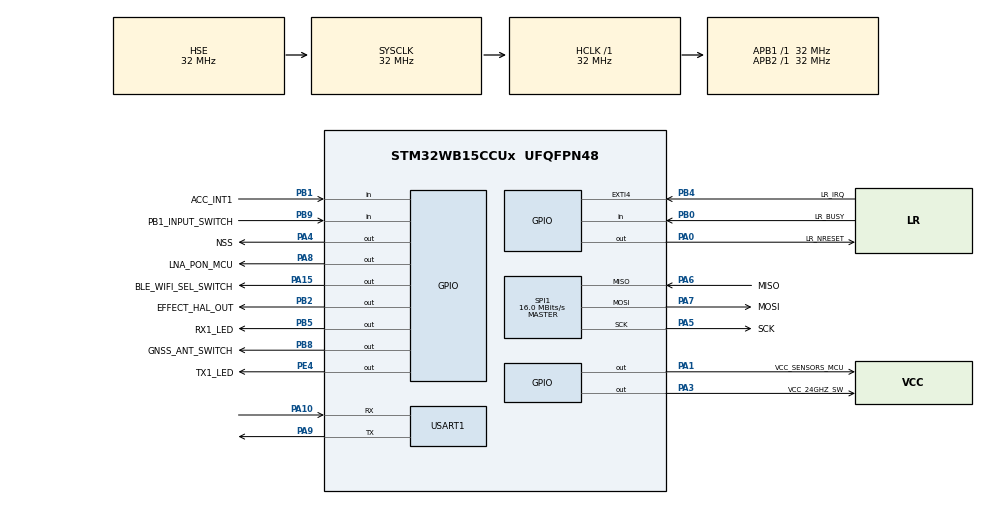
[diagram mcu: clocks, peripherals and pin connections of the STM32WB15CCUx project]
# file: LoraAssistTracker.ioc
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Dma.Request0=USART1_TX
Dma.USART1_TX.0.Direction=DMA_MEMORY_TO_PERIPH
Dma.USART1_TX.0.EventEnable=DISABLE
Dma.USART1_TX.0.Instance=DMA1_Channel4
Dma.USART1_TX.0.MemDataAlignment=DMA_MDATAALIGN_BYTE
Dma.USART1_TX.0.MemInc=DMA_MINC_ENABLE
Dma.USART1_TX.0.Mode=DMA_NORMAL
Dma.USART1_TX.0.PeriphDataAlignment=DMA_PDATAALIGN_BYTE
Dma.USART1_TX.0.PeriphInc=DMA_PINC_DISABLE
Dma.USART1_TX.0.Polarity=HAL_DMAMUX_REQ_GEN_RISING
Dma.USART1_TX.0.Priority=DMA_PRIORITY_LOW
Dma.USART1_TX.0.RequestNumber=1
Dma.USART1_TX.0.SignalID=NONE
Dma.USART1_TX.0.SyncEnable=DISABLE
Dma.USART1_TX.0.SyncPolarity=HAL_DMAMUX_SYNC_NO_EVENT
Dma.USART1_TX.0.SyncRequestNumber=1
Dma.USART1_TX.0.SyncSignalID=NONE
Mcu.Family=STM32WB
Mcu.Name=STM32WB15CCUx
Mcu.Package=UFQFPN48
NVIC.DMA1_Channel4_IRQn=true\:15\:0\:true\:false\:true\:false\:true
NVIC.HSEM_IRQn=true\:0\:0\:false\:false\:true\:false\:true
NVIC.IPCC_C1_RX_IRQn=true\:0\:0\:false\:false\:true\:true\:true
NVIC.IPCC_C1_TX_IRQn=true\:0\:0\:false\:false\:true\:true\:true
NVIC.PriorityGroup=NVIC_PRIORITYGROUP_4
NVIC.RTC_Alarm_IRQn=true\:0\:0\:false\:false\:true\:true\:true
NVIC.RTC_WKUP_IRQn=true\:0\:0\:false\:false\:true\:true\:true
NVIC.USART1_IRQn=true\:0\:0\:false\:false\:true\:true\:true
OSC_IN.Mode=HSE-External-Oscillator
OSC_IN.Signal=RCC_OSC_IN
OSC_OUT.Mode=HSE-External-Oscillator
OSC_OUT.Signal=RCC_OSC_OUT
PA0.GPIO_Label=LR_NRESET
PA0.Signal=GPIO_Output
PA1.GPIO_Label=VCC_SENSORS_MCU
PA1.Signal=GPIO_Output
PA10.GPIO_PuPd=GPIO_PULLUP
PA10.GPIO_Speed=GPIO_SPEED_FREQ_VERY_HIGH
PA10.Mode=Asynchronous
PA10.Signal=USART1_RX
PA13.Signal=SYS_JTMS-SWDIO
PA14.Signal=SYS_JTCK-SWCLK
PA15.GPIO_Label=BLE_WIFI_SEL_SWITCH
PA15.Signal=GPIO_Output
PA2.Mode=Clock-out-LSCO
PA2.Signal=RCC_LSCO
PA3.GPIO_Label=VCC_24GHZ_SW
PA3.Signal=GPIO_Output
PA4.GPIO_Label=NSS
PA4.Signal=GPIO_Output
PA5.GPIO_Label=SCK
PA5.Mode=Full_Duplex_Master
PA5.Signal=SPI1_SCK
PA6.GPIO_Label=MISO
PA6.Mode=Full_Duplex_Master
PA6.Signal=SPI1_MISO
PA7.GPIO_Label=MOSI
PA7.Mode=Full_Duplex_Master
PA7.Signal=SPI1_MOSI
PA8.GPIO_Label=LNA_PON_MCU
PA8.Signal=GPIO_Output
PA9.GPIO_PuPd=GPIO_PULLUP
PA9.GPIO_Speed=GPIO_SPEED_FREQ_VERY_HIGH
PA9.Mode=Asynchronous
PA9.Signal=USART1_TX
PB0.GPIO_Label=LR_BUSY
PB0.Signal=GPIO_Input
PB1.GPIO_Label=ACC_INT1
PB1.Signal=GPIO_Input
PB2.GPIO_Label=EFFECT_HAL_OUT
PB2.Signal=GPIO_Output
PB3.Signal=SYS_JTDO-SWO
PB4.GPIO_Label=LR_IRQ
PB4.Signal=GPXTI4
PB5.GPIO_Label=RX1_LED
PB5.Signal=GPIO_Output
PB8.GPIO_Label=GNSS_ANT_SWITCH
PB8.Signal=GPIO_Output
PB9.GPIO_Label=PB1_INPUT_SWITCH
PB9.Signal=GPIO_Input
PC14-OSC32_IN.Mode=LSE-External-Oscillator
PC14-OSC32_IN.Signal=RCC_OSC32_IN
PC15-OSC32_OUT.Mode=LSE-External-Oscillator
PC15-OSC32_OUT.Signal=RCC_OSC32_OUT
PE4.GPIO_Label=TX1_LED
PE4.Signal=GPIO_Output
ProjectManager.HeapSize=0x400
ProjectManager.StackSize=0x1000
ProjectManager.TargetToolchain=STM32CubeIDE
RCC.AHBFreq_Value=32000000
RCC.APB1Freq_Value=32000000
RCC.APB1TimFreq_Value=32000000
RCC.APB2Freq_Value=32000000
RCC.APB2TimFreq_Value=32000000
RCC.APB3Freq_Value=16000000
RCC.CK48CLockSelection=RCC_USBCLKSOURCE_PLL
RCC.CortexFreq_Value=32000000
RCC.HCLKFreq_Value=32000000
RCC.HSE_VALUE=32000000
RCC.HSI_VALUE=16000000
RCC.MSIClockRange=RCC_MSIRANGE_10
RCC.PLLSourceVirtual=RCC_PLLSOURCE_HSI
RCC.RNGCLockSelection=RCC_RNGCLKSOURCE_LSE
RCC.RTCClockSelection=RCC_RTCCLKSOURCE_LSE
RCC.SMPSCLockSelectionVirtual=RCC_SMPSCLKSOURCE_HSE
RCC.SMPSDivider=4
RCC.SYSCLKFreq_VALUE=32000000
RCC.SYSCLKSource=RCC_SYSCLKSOURCE_HSE
RCC.VCOOutputFreq_Value=128000000
RF1.Mode=RF1_Activate
RF1.Signal=RF_RF1
RTC.Alarm-Alarm\ A=RTC_ALARM_A
SPI1.CalculateBaudRate=16.0 MBits/s
SPI1.Direction=SPI_DIRECTION_2LINES
SPI1.Mode=SPI_MODE_MASTER
SPI1.VirtualType=VM_MASTER
STM32_WPAN.BLE_ADDR_TYPE=PUBLIC_ADDR
STM32_WPAN.BLE_CFG_SVC_MAX_NBR_CB=1
STM32_WPAN.BLE_DBG_P2P_STM_EN=1
STM32_WPAN.BT_SIG_HEART_RATE_SENSOR=Disabled
STM32_WPAN.CFG_ADV_BD_ADDRESS=0x7257acd87a6c
STM32_WPAN.CFG_BLE_ATT_VALUE_ARRAY_SIZE=1290
STM32_WPAN.CFG_BLE_NUM_GATT_ATTRIBUTES=30
STM32_WPAN.CFG_BLE_NUM_GATT_SERVICES=4
STM32_WPAN.CFG_DEBUGGER_SUPPORTED=1
STM32_WPAN.CFG_DEBUG_APP_TRACE=1
STM32_WPAN.CFG_DEBUG_BLE_TRACE=1
STM32_WPAN.CFG_DEBUG_TRACE_LIGHT=1
STM32_WPAN.CFG_DEBUG_TRACE_UART=hw_uart1
STM32_WPAN.CFG_HW_RESET_BY_FW=0
STM32_WPAN.CFG_HW_USART1_ENABLED=1
STM32_WPAN.CFG_LPM_STANDBY_SUPPORTED=0
STM32_WPAN.CFG_LPM_SUPPORTED=1
STM32_WPAN.CFG_LP_CONN_ADV_INTERVAL_MAX=2500
STM32_WPAN.CFG_USE_SMPS=0
STM32_WPAN.CUSTOM_P2P_SERVER=Enabled
STM32_WPAN.DBG_TRACE_MSG_QUEUE_SIZE=1024
STM32_WPAN.L2CAP_REQUEST_NEW_CONN_PARAM=1
STM32_WPAN.LOCAL_NAME=LORA_P2
STM32_WPAN.LOCAL_NAME_FORMATTED=,'L','O','R','A','_','P','2'
STM32_WPAN.MAX_DBG_TRACE_MSG_SIZE=512
STM32_WPAN.STATIC_RANDOM_ADDRESS=0x112233445566
USART1.VirtualMode-Asynchronous=VM_ASYNC
VP_HSEM_VS_HSEM.Mode=HSEM_Activate
VP_IPCC_VS_IPCC.Mode=IPCC_Activate
VP_RNG_VS_RNG.Mode=RNG_Activate
VP_RTC_VS_RTC_Activate.Mode=RTC_Enabled
VP_RTC_VS_RTC_Alarm_A_Intern.Mode=Alarm A
VP_RTC_VS_RTC_Calendar.Mode=RTC_Calendar
VP_RTC_VS_RTC_WakeUp_intern.Mode=WakeUp
VP_SEQUENCER_VS_SEQUENCER.Mode=SEQUENCER_Enabled
VP_STM32_WPAN_VS_BLE_HOST.Mode=STM32_WPAN_Enabled
VP_TINY_LPM_VS_TINY_LPM.Mode=TINY_LPM_Enabled
board=custom

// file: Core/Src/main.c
/* USER CODE BEGIN Header */
/**
  ******************************************************************************
  * @file           : main.c
  * @brief          : Main program body
  ******************************************************************************
  * @attention
  *
  * Copyright (c) 2021 STMicroelectronics.
  * All rights reserved.
  *
  * This software is licensed under terms that can be found in the LICENSE file
  * in the root directory of this software component.
  * If no LICENSE file comes with this software, it is provided AS-IS.
  *
  ******************************************************************************
  @verbatim
  ==============================================================================
                    ##### IMPORTANT NOTE #####
  ==============================================================================

  This application requests having the stm32wb1x_BLE_Stack_fw.bin binary
  flashed on the Wireless Coprocessor.
  If it is not the case, you need to use STM32CubeProgrammer to load the appropriate
  binary.

  All available binaries are located under following directory:
  /Projects/STM32_Copro_Wireless_Binaries

  Refer to UM2237 to learn how to use/install STM32CubeProgrammer.
  Refer to /Projects/STM32_Copro_Wireless_Binaries/ReleaseNote.html for the
  detailed procedure to change the Wireless Coprocessor binary.

  @endverbatim
  ******************************************************************************
  */
/* USER CODE END Header */
#include "main.h"

/* USER CODE BEGIN Includes */

//BLE_p2pServer\Core\Src\main.c

// BLE_p2pServer\STM32CubeIDE\Application\User\Core\MyApplication.h

//BLE_p2pServer\STM32_WPAN\App\p2p_server_app.c
#include "../../STM32CubeIDE/Application/User/Core/MyApplication.h"
/* USER CODE END Includes */

/* USER CODE BEGIN PTD */

uint32_t u32LoraWanSelector = 0;

/* USER CODE END PTD */

IPCC_HandleTypeDef hipcc;

RNG_HandleTypeDef hrng;

RTC_HandleTypeDef hrtc;

SPI_HandleTypeDef hspi1;

UART_HandleTypeDef huart1;
DMA_HandleTypeDef hdma_usart1_tx;

void SystemClock_Config(void);
void PeriphCommonClock_Config(void);
static void MX_RNG_Init(void);
static void MX_SPI1_Init(void);
/* USER CODE BEGIN PFP */

extern int lora_ping_pong( void );
extern int lora_wan( void );
extern void lorawan_process(void);
extern int lorawan_init(void);

extern void lorapingpong_process(void);
extern void lorapingpong_init(void);

/* USER CODE END PFP */

/* USER CODE BEGIN 0 */

void spdt_2g4_on( void )
{
	HAL_GPIO_WritePin(VCC_24GHZ_SW_GPIO_Port, VCC_24GHZ_SW_Pin, 1);
}

void spdt_2g4_off( void )
{
	HAL_GPIO_WritePin(VCC_24GHZ_SW_GPIO_Port, VCC_24GHZ_SW_Pin, 0);
}

void set_wifi_antenna( void )
{
    /* SWITCH_WIFI_BLE_Pin = 1 ==> Wi-Fi */
//    hal_gpio_set_value( SWITCH_WIFI_BLE, 1 );
	HAL_GPIO_WritePin(BLE_WIFI_SEL_SWITCH_GPIO_Port, BLE_WIFI_SEL_SWITCH_Pin, 1);

}

void set_ble_antenna( void )
{
    /* SWITCH_WIFI_BLE_Pin = 0 ==> BLE */
//    hal_gpio_set_value( SWITCH_WIFI_BLE, 0 );
    HAL_GPIO_WritePin(BLE_WIFI_SEL_SWITCH_GPIO_Port, BLE_WIFI_SEL_SWITCH_Pin, 0);
}

void lna_on( void )
{
	HAL_GPIO_WritePin(LNA_PON_MCU_GPIO_Port, LNA_PON_MCU_Pin, 1);
//	hal_gpio_set_value( LNA_PON, 1 );
}

void lna_off( void )
{
	HAL_GPIO_WritePin(LNA_PON_MCU_GPIO_Port, LNA_PON_MCU_Pin, 0);
//	hal_gpio_set_value( LNA_PON, 0 );
}

void set_gnss_patch_antenna( void )
{
    /* GPS_SWITCH = 1 ==> PATCH */
//    hal_gpio_set_value( GPS_SWITCH, 1 );
	HAL_GPIO_WritePin(GNSS_ANT_SWITCH_GPIO_Port, GNSS_ANT_SWITCH_Pin, 1);
}

void set_gnss_pcb_antenna( void )
{
    /* GPS_SWITCH = 0 ==> PCB */
//    hal_gpio_set_value( GPS_SWITCH, 0 );
	HAL_GPIO_WritePin(GNSS_ANT_SWITCH_GPIO_Port, GNSS_ANT_SWITCH_Pin, 0);
}

//void my_lr1110_get_version( char * hw, char * type, uint16_t * fw )
//{
//    uint8_t         cbuffer[2];
//    uint8_t         rbuffer[4] = { 0x00 };
//
//    cbuffer[0] = ( uint8_t )( 1 );
//    cbuffer[1] = ( uint8_t )( 1 );
//
//    my_lr1110_hal_read( cbuffer, 2, rbuffer, 4 );
//
//
//	* hw   = rbuffer[0];
//	* type = rbuffer[1];
//	* fw    = ( ( uint16_t ) rbuffer[2] << 8 ) + ( uint16_t ) rbuffer[3];
//
//}

void my_lr1110_reset(void)
{
	printf("LR1110 -- Reset\r\n");
	HAL_GPIO_WritePin(LR_NRESET_GPIO_Port, LR_NRESET_Pin, 0);
	HAL_Delay( 1 );
	HAL_GPIO_WritePin(LR_NRESET_GPIO_Port, LR_NRESET_Pin, 1);
}

int __io_putchar(int ch)
{
	HAL_UART_Transmit(&huart1, &ch, 1, 1000);
}

int __io_getchar(void)
{
	uint8_t u8Data = 0;
	HAL_UART_Receive(&huart1, &u8Data, 1, 1000);
	return u8Data;
}

uint32_t get_unix_time(void)
{
 return 1649383048;
}

/* USER CODE END 0 */

int main(void)
{
  /* USER CODE BEGIN 1 */
	int lorawan_status = 0;
	int lowapingpong_status = 0;

  /* USER CODE END 1 */

  /* MCU Configuration--------------------------------------------------------*/

  /* Reset of all peripherals, Initializes the Flash interface and the Systick. */
  HAL_Init();
  /* Config code for STM32_WPAN (HSE Tuning must be done before system clock configuration) */
  MX_APPE_Config();

  /* Configure the system clock */
  SystemClock_Config();

/* Configure the peripherals common clocks */
  PeriphCommonClock_Config();

  /* IPCC initialisation */
   MX_IPCC_Init();

  /* Initialize all configured peripherals */
  MX_GPIO_Init();
  MX_DMA_Init();
  MX_RTC_Init();
  MX_USART1_UART_Init();
  MX_RNG_Init();
  MX_SPI1_Init();
  /* USER CODE BEGIN 2 */

  RtcInit();

  /* USER CODE END 2 */

  /* Init code for STM32_WPAN */
  MX_APPE_Init();
  /* Infinite loop */
  /* USER CODE BEGIN WHILE */

  uint8_t au8MacId[6] = {0, };
  Ble_GetMacId(au8MacId);

  printf("\r\n\r\n\r\n");
  printf("===================================================\r\n");
  printf("||       Lora Asset Tracker v%d.%d.%d                ||\r\n",
		  FW_VERSION_MAJOR, FW_VERSION_MINOR, FW_VERSION_PATCH);
  printf("===================================================\r\n\r\n");
  printf("BLE Mac ID: %02X:%02X:%02X:%02X:%02X:%02X\r\n",
		  au8MacId[5], au8MacId[4], au8MacId[3], au8MacId[2], au8MacId[1], au8MacId[0]);

  /* Lorawan Init and Process Task create */
  App_vLoraWanInitTaskCreate();
  App_vLoraWanProcessTaskCreate();

  /* Timer Created */
  App_vLoraTimeoutTimerCreate();

  /* Lora Ping Pong Init and Process Task create */
  App_vLoraPingPongInitTaskCreate();
  App_vLoraPingPongProcessTaskCreate();

//  lorawan_status = lorawan_init();
//  lora_wan();

  while (1)
  {
    /* USER CODE END WHILE */

    MX_APPE_Process();

    /* USER CODE BEGIN 3 */

    App_vReqLoraAppRun();

#if 0
    switch(eLoraModuleSelector)
    {
    case LORA_MODULE_WAN_NETWORK:
    {
    	if(lorawan_status == 0)
    	{
    		lowapingpong_status = 0;
    		lorawan_status = 1;

    		App_vLoraWanInitTaskRun();
    	}
    }
    break;

    case LORA_MODULE_PING_PONG:
    {
    	if(lowapingpong_status == 0)
    	{
    		lorawan_status = 0;
    		lowapingpong_status = 1;

    		App_vLoraPingPongInitTaskRun();
    	}
    }
    break;

    default:
    	break;
    }
#endif

#if 0
    if(eLoraModuleSelector = 0xAA)
    {
    	lowapingpong_status = 0;
    	if(lorawan_status == 0)
		{
    		App_vLoraWanInitTaskRun();
    		lorawan_status = 1;
		}
//		else
//		{
//			my_lr1110_reset();
//			HAL_Delay(100);
//			my_lr1110_reset();
//			HAL_Delay(50);
//
//
//			lorawan_status = lorawan_init();
//    	}
    }
    else if(u32LoraWanSelector == 0xAA)
    {
    	lorawan_status = 0;
    	if(lowapingpong_status == 0)
    	{
//    		lorapingpong_process();
    		App_vLoraPingPongInitTaskRun();
    		lowapingpong_status = 1;
    	}
//    	else
//    	{
//			my_lr1110_reset();
//			HAL_Delay(100);
//			my_lr1110_reset();
//			HAL_Delay(50);
//
//    		lorapingpong_init();
//    		lowapingpong_status = 1;
//    	}
    }
#endif

  }
  /* USER CODE END 3 */
}

void SystemClock_Config(void)
{
  RCC_OscInitTypeDef RCC_OscInitStruct = {0};
  RCC_ClkInitTypeDef RCC_ClkInitStruct = {0};

  /** Configure LSE Drive Capability
  */
  HAL_PWR_EnableBkUpAccess();
  __HAL_RCC_LSEDRIVE_CONFIG(RCC_LSEDRIVE_LOW);
  /** Initializes the RCC Oscillators according to the specified parameters
  * in the RCC_OscInitTypeDef structure.
  */
  RCC_OscInitStruct.OscillatorType = RCC_OSCILLATORTYPE_HSI|RCC_OSCILLATORTYPE_LSI1
                              |RCC_OSCILLATORTYPE_HSE|RCC_OSCILLATORTYPE_LSE;
  RCC_OscInitStruct.HSEState = RCC_HSE_ON;
  RCC_OscInitStruct.LSEState = RCC_LSE_ON;
  RCC_OscInitStruct.HSIState = RCC_HSI_ON;
  RCC_OscInitStruct.HSICalibrationValue = RCC_HSICALIBRATION_DEFAULT;
  RCC_OscInitStruct.LSIState = RCC_LSI_ON;
  RCC_OscInitStruct.PLL.PLLState = RCC_PLL_NONE;
  if (HAL_RCC_OscConfig(&RCC_OscInitStruct) != HAL_OK)
  {
    Error_Handler();
  }
  /** Configure the SYSCLKSource, HCLK, PCLK1 and PCLK2 clocks dividers
  */
  RCC_ClkInitStruct.ClockType = RCC_CLOCKTYPE_HCLK4|RCC_CLOCKTYPE_HCLK2
                              |RCC_CLOCKTYPE_HCLK|RCC_CLOCKTYPE_SYSCLK
                              |RCC_CLOCKTYPE_PCLK1|RCC_CLOCKTYPE_PCLK2;
  RCC_ClkInitStruct.SYSCLKSource = RCC_SYSCLKSOURCE_HSE;
  RCC_ClkInitStruct.AHBCLKDivider = RCC_SYSCLK_DIV1;
  RCC_ClkInitStruct.APB1CLKDivider = RCC_HCLK_DIV1;
  RCC_ClkInitStruct.APB2CLKDivider = RCC_HCLK_DIV1;
  RCC_ClkInitStruct.AHBCLK2Divider = RCC_SYSCLK_DIV1;
  RCC_ClkInitStruct.AHBCLK4Divider = RCC_SYSCLK_DIV1;

  if (HAL_RCC_ClockConfig(&RCC_ClkInitStruct, FLASH_LATENCY_1) != HAL_OK)
  {
    Error_Handler();
  }
  HAL_RCCEx_EnableLSCO(RCC_LSCOSOURCE_LSI);
}

void PeriphCommonClock_Config(void)
{
  RCC_PeriphCLKInitTypeDef PeriphClkInitStruct = {0};

  /** Initializes the peripherals clock
  */
  PeriphClkInitStruct.PeriphClockSelection = RCC_PERIPHCLK_SMPS|RCC_PERIPHCLK_RFWAKEUP;
  PeriphClkInitStruct.RFWakeUpClockSelection = RCC_RFWKPCLKSOURCE_LSE;
  PeriphClkInitStruct.SmpsClockSelection = RCC_SMPSCLKSOURCE_HSE;
  PeriphClkInitStruct.SmpsDivSelection = RCC_SMPSCLKDIV_RANGE1;

  if (HAL_RCCEx_PeriphCLKConfig(&PeriphClkInitStruct) != HAL_OK)
  {
    Error_Handler();
  }
}

void MX_IPCC_Init(void)
{

  hipcc.Instance = IPCC;
  if (HAL_IPCC_Init(&hipcc) != HAL_OK)
  {
    Error_Handler();
  }

}

static void MX_RNG_Init(void)
{

  hrng.Instance = RNG;
  hrng.Init.ClockErrorDetection = RNG_CED_ENABLE;
  if (HAL_RNG_Init(&hrng) != HAL_OK)
  {
    Error_Handler();
  }

}

void MX_RTC_Init(void)
{

  RTC_TimeTypeDef sTime = {0};
  RTC_DateTypeDef sDate = {0};
  RTC_AlarmTypeDef sAlarm = {0};

  /** Initialize RTC Only
  */
  hrtc.Instance = RTC;
  hrtc.Init.HourFormat = RTC_HOURFORMAT_24;
  hrtc.Init.AsynchPrediv = CFG_RTC_ASYNCH_PRESCALER;
  hrtc.Init.SynchPrediv = CFG_RTC_SYNCH_PRESCALER;
  hrtc.Init.OutPut = RTC_OUTPUT_DISABLE;
  hrtc.Init.OutPutPolarity = RTC_OUTPUT_POLARITY_HIGH;
  hrtc.Init.OutPutRemap = RTC_OUTPUT_REMAP_NONE;
  if (HAL_RTC_Init(&hrtc) != HAL_OK)
  {
    Error_Handler();
  }

  /** Initialize RTC and set the Time and Date
  */
  sTime.Hours = 0x0;
  sTime.Minutes = 0x0;
  sTime.Seconds = 0x0;
  sTime.SubSeconds = 0x0;
  sTime.DayLightSaving = RTC_DAYLIGHTSAVING_NONE;
  sTime.StoreOperation = RTC_STOREOPERATION_RESET;
  if (HAL_RTC_SetTime(&hrtc, &sTime, RTC_FORMAT_BCD) != HAL_OK)
  {
    Error_Handler();
  }
  sDate.WeekDay = RTC_WEEKDAY_MONDAY;
  sDate.Month = RTC_MONTH_JANUARY;
  sDate.Date = 0x1;
  sDate.Year = 0x0;
  if (HAL_RTC_SetDate(&hrtc, &sDate, RTC_FORMAT_BCD) != HAL_OK)
  {
    Error_Handler();
  }
  /** Enable the Alarm A
  */
  sAlarm.AlarmTime.Hours = 0x0;
  sAlarm.AlarmTime.Minutes = 0x0;
  sAlarm.AlarmTime.Seconds = 0x0;
  sAlarm.AlarmTime.SubSeconds = 0x0;
  sAlarm.AlarmTime.DayLightSaving = RTC_DAYLIGHTSAVING_NONE;
  sAlarm.AlarmTime.StoreOperation = RTC_STOREOPERATION_RESET;
  sAlarm.AlarmMask = RTC_ALARMMASK_NONE;
  sAlarm.AlarmSubSecondMask = RTC_ALARMSUBSECONDMASK_ALL;
  sAlarm.AlarmDateWeekDaySel = RTC_ALARMDATEWEEKDAYSEL_DATE;
  sAlarm.AlarmDateWeekDay = 0x1;
  sAlarm.Alarm = RTC_ALARM_A;
  if (HAL_RTC_SetAlarm_IT(&hrtc, &sAlarm, RTC_FORMAT_BCD) != HAL_OK)
  {
    Error_Handler();
  }
  /** Enable the WakeUp
  */
  if (HAL_RTCEx_SetWakeUpTimer_IT(&hrtc, 0, RTC_WAKEUPCLOCK_RTCCLK_DIV16) != HAL_OK)
  {
    Error_Handler();
  }
  /* USER CODE BEGIN RTC_Init 2 */
  /* Disable RTC registers write protection */
  LL_RTC_DisableWriteProtection(RTC);

  LL_RTC_WAKEUP_SetClock(RTC, CFG_RTC_WUCKSEL_DIVIDER);

  /* Enable RTC registers write protection */
  LL_RTC_EnableWriteProtection(RTC);
  /* USER CODE END RTC_Init 2 */

}

static void MX_SPI1_Init(void)
{

  /* SPI1 parameter configuration*/
  hspi1.Instance = SPI1;
  hspi1.Init.Mode = SPI_MODE_MASTER;
  hspi1.Init.Direction = SPI_DIRECTION_2LINES;
  hspi1.Init.DataSize = SPI_DATASIZE_8BIT;
  hspi1.Init.CLKPolarity = SPI_POLARITY_LOW;
  hspi1.Init.CLKPhase = SPI_PHASE_1EDGE;
  hspi1.Init.NSS = SPI_NSS_SOFT;
  hspi1.Init.BaudRatePrescaler = SPI_BAUDRATEPRESCALER_2;
  hspi1.Init.FirstBit = SPI_FIRSTBIT_MSB;
  hspi1.Init.TIMode = SPI_TIMODE_DISABLE;
  hspi1.Init.CRCCalculation = SPI_CRCCALCULATION_DISABLE;
  hspi1.Init.CRCPolynomial = 7;
  hspi1.Init.CRCLength = SPI_CRC_LENGTH_DATASIZE;
  hspi1.Init.NSSPMode = SPI_NSS_PULSE_ENABLE;
  if (HAL_SPI_Init(&hspi1) != HAL_OK)
  {
    Error_Handler();
  }

}

void MX_USART1_UART_Init(void)
{

  huart1.Instance = USART1;
  huart1.Init.BaudRate = 115200;
  huart1.Init.WordLength = UART_WORDLENGTH_8B;
  huart1.Init.StopBits = UART_STOPBITS_1;
  huart1.Init.Parity = UART_PARITY_NONE;
  huart1.Init.Mode = UART_MODE_TX_RX;
  huart1.Init.HwFlowCtl = UART_HWCONTROL_NONE;
  huart1.Init.OverSampling = UART_OVERSAMPLING_8;
  huart1.Init.OneBitSampling = UART_ONE_BIT_SAMPLE_DISABLE;
  huart1.Init.ClockPrescaler = UART_PRESCALER_DIV1;
  huart1.AdvancedInit.AdvFeatureInit = UART_ADVFEATURE_NO_INIT;
  if (HAL_UART_Init(&huart1) != HAL_OK)
  {
    Error_Handler();
  }
  if (HAL_UARTEx_SetTxFifoThreshold(&huart1, UART_TXFIFO_THRESHOLD_1_8) != HAL_OK)
  {
    Error_Handler();
  }
  if (HAL_UARTEx_SetRxFifoThreshold(&huart1, UART_RXFIFO_THRESHOLD_1_8) != HAL_OK)
  {
    Error_Handler();
  }
  if (HAL_UARTEx_DisableFifoMode(&huart1) != HAL_OK)
  {
    Error_Handler();
  }

}

void MX_DMA_Init(void)
{

  /* DMA controller clock enable */
  __HAL_RCC_DMAMUX1_CLK_ENABLE();
  __HAL_RCC_DMA1_CLK_ENABLE();

  /* DMA interrupt init */
  /* DMA1_Channel4_IRQn interrupt configuration */
  HAL_NVIC_SetPriority(DMA1_Channel4_IRQn, 15, 0);
  HAL_NVIC_EnableIRQ(DMA1_Channel4_IRQn);

}

void MX_GPIO_Init(void)
{
  GPIO_InitTypeDef GPIO_InitStruct = {0};

  /* GPIO Ports Clock Enable */
  __HAL_RCC_GPIOC_CLK_ENABLE();
  __HAL_RCC_GPIOH_CLK_ENABLE();
  __HAL_RCC_GPIOB_CLK_ENABLE();
  __HAL_RCC_GPIOA_CLK_ENABLE();
  __HAL_RCC_GPIOE_CLK_ENABLE();

  /*Configure GPIO pin Output Level */
  HAL_GPIO_WritePin(GPIOB, GNSS_ANT_SWITCH_Pin|EFFECT_HAL_OUT_Pin|RX1_LED_Pin, GPIO_PIN_RESET);

  /*Configure GPIO pin Output Level */
  HAL_GPIO_WritePin(GPIOA, LR_NRESET_Pin|VCC_SENSORS_MCU_Pin|VCC_24GHZ_SW_Pin|NSS_Pin
                          |LNA_PON_MCU_Pin|BLE_WIFI_SEL_SWITCH_Pin, GPIO_PIN_RESET);

  /*Configure GPIO pin Output Level */
  HAL_GPIO_WritePin(TX1_LED_GPIO_Port, TX1_LED_Pin, GPIO_PIN_RESET);

  /*Configure GPIO pin : PH3 */
  GPIO_InitStruct.Pin = GPIO_PIN_3;
  GPIO_InitStruct.Mode = GPIO_MODE_ANALOG;
  GPIO_InitStruct.Pull = GPIO_NOPULL;
  HAL_GPIO_Init(GPIOH, &GPIO_InitStruct);

  /*Configure GPIO pins : GNSS_ANT_SWITCH_Pin EFFECT_HAL_OUT_Pin RX1_LED_Pin */
  GPIO_InitStruct.Pin = GNSS_ANT_SWITCH_Pin|EFFECT_HAL_OUT_Pin|RX1_LED_Pin;
  GPIO_InitStruct.Mode = GPIO_MODE_OUTPUT_PP;
  GPIO_InitStruct.Pull = GPIO_NOPULL;
  GPIO_InitStruct.Speed = GPIO_SPEED_FREQ_LOW;
  HAL_GPIO_Init(GPIOB, &GPIO_InitStruct);

  /*Configure GPIO pins : PB1_INPUT_SWITCH_Pin LR_BUSY_Pin ACC_INT1_Pin */
  GPIO_InitStruct.Pin = PB1_INPUT_SWITCH_Pin|LR_BUSY_Pin|ACC_INT1_Pin;
  GPIO_InitStruct.Mode = GPIO_MODE_INPUT;
  GPIO_InitStruct.Pull = GPIO_NOPULL;
  HAL_GPIO_Init(GPIOB, &GPIO_InitStruct);

  /*Configure GPIO pins : LR_NRESET_Pin VCC_SENSORS_MCU_Pin VCC_24GHZ_SW_Pin NSS_Pin
                           LNA_PON_MCU_Pin BLE_WIFI_SEL_SWITCH_Pin */
  GPIO_InitStruct.Pin = LR_NRESET_Pin|VCC_SENSORS_MCU_Pin|VCC_24GHZ_SW_Pin|NSS_Pin
                          |LNA_PON_MCU_Pin|BLE_WIFI_SEL_SWITCH_Pin;
  GPIO_InitStruct.Mode = GPIO_MODE_OUTPUT_PP;
  GPIO_InitStruct.Pull = GPIO_NOPULL;
  GPIO_InitStruct.Speed = GPIO_SPEED_FREQ_LOW;
  HAL_GPIO_Init(GPIOA, &GPIO_InitStruct);

  /*Configure GPIO pin : PA2 */
  GPIO_InitStruct.Pin = GPIO_PIN_2;
  GPIO_InitStruct.Mode = GPIO_MODE_AF_PP;
  GPIO_InitStruct.Pull = GPIO_NOPULL;
  GPIO_InitStruct.Speed = GPIO_SPEED_FREQ_LOW;
  GPIO_InitStruct.Alternate = GPIO_AF0_LSCO;
  HAL_GPIO_Init(GPIOA, &GPIO_InitStruct);

  /*Configure GPIO pin : TX1_LED_Pin */
  GPIO_InitStruct.Pin = TX1_LED_Pin;
  GPIO_InitStruct.Mode = GPIO_MODE_OUTPUT_PP;
  GPIO_InitStruct.Pull = GPIO_NOPULL;
  GPIO_InitStruct.Speed = GPIO_SPEED_FREQ_LOW;
  HAL_GPIO_Init(TX1_LED_GPIO_Port, &GPIO_InitStruct);

  /*Configure GPIO pins : PA11 PA12 */
  GPIO_InitStruct.Pin = GPIO_PIN_11|GPIO_PIN_12;
  GPIO_InitStruct.Mode = GPIO_MODE_ANALOG;
  GPIO_InitStruct.Pull = GPIO_NOPULL;
  HAL_GPIO_Init(GPIOA, &GPIO_InitStruct);

  /*Configure GPIO pin : LR_IRQ_Pin */
  GPIO_InitStruct.Pin = LR_IRQ_Pin;
  GPIO_InitStruct.Mode = GPIO_MODE_IT_RISING;
  GPIO_InitStruct.Pull = GPIO_NOPULL;
  HAL_GPIO_Init(LR_IRQ_GPIO_Port, &GPIO_InitStruct);

  /*Configure GPIO pins : PB6 PB7 */
  GPIO_InitStruct.Pin = GPIO_PIN_6|GPIO_PIN_7;
  GPIO_InitStruct.Mode = GPIO_MODE_ANALOG;
  GPIO_InitStruct.Pull = GPIO_NOPULL;
  HAL_GPIO_Init(GPIOB, &GPIO_InitStruct);

}

void Error_Handler(void)
{
}
